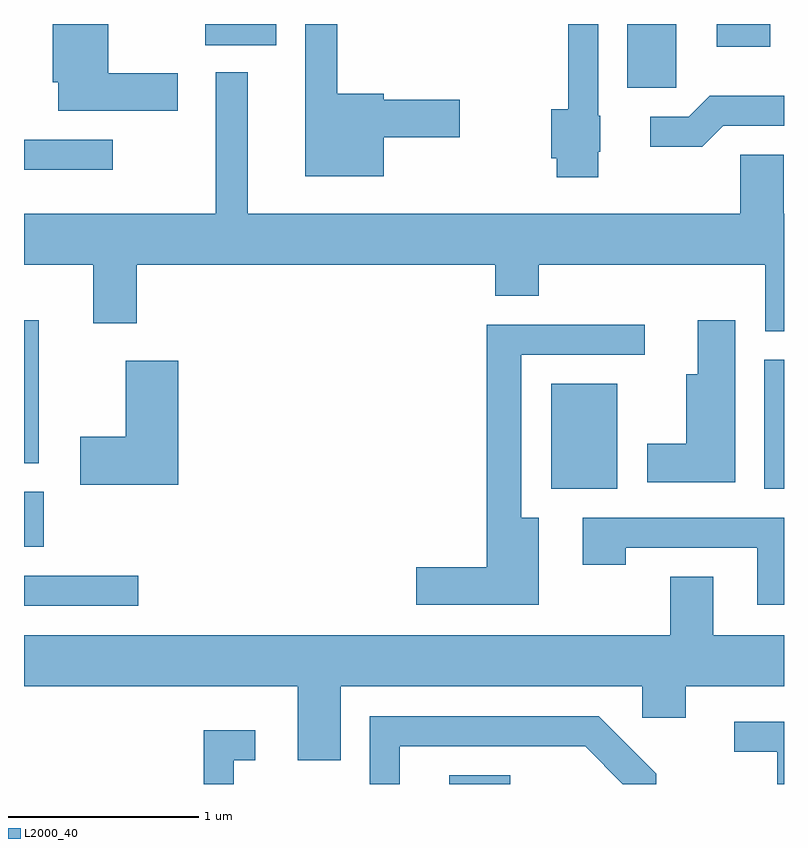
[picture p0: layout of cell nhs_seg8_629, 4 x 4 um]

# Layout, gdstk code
import gdstk
lib = gdstk.Library(unit=1e-6, precision=1e-09)
def R(c, l, rs):  # rectangles x0, y0, x1, y1
    for r in rs: c.add(gdstk.rectangle(r[:2], r[2:], *l))
def P(c, l, *ps):  # polygons
    for p in ps: c.add(gdstk.Polygon(p, *l))
L2000_40 = (2000, 40)

nhs_seg8_629 = lib.new_cell('nhs_seg8_629')
R(nhs_seg8_629, L2000_40, [(205.848,1840.342,206.169,1840.389), (203.611,1841.281,204.213,1841.439), (203.611,1841.591,203.714,1841.879), (206.386,1841.896,206.734,1842.449), (207.506,1841.896,207.611,1842.574), (203.611,1842.031,203.689,1842.784), (203.611,1843.576,204.078,1843.734), (206.786,1844.006,207.044,1844.342), (207.256,1844.221,207.539,1844.342), (204.566,1844.231,204.939,1844.342)])
P(nhs_seg8_629, L2000_40, [(204.419,1844.084),(204.054,1844.084),(204.054,1844.342),(203.761,1844.342),(203.761,1844.036),(203.791,1844.036),(203.791,1843.886),(204.419,1843.886)],
  [(205.504,1843.746),(205.904,1843.746),(205.904,1843.944),(205.504,1843.944),(205.504,1843.974),(205.259,1843.974),(205.259,1844.342),(205.091,1844.342),(205.091,1843.541),(205.504,1843.541)],
  [(206.634,1843.67),(206.644,1843.67),(206.644,1843.86),(206.634,1843.86),(206.634,1844.342),(206.476,1844.342),(206.476,1843.894),(206.386,1843.894),(206.386,1843.636),(206.416,1843.636),(206.416,1843.536),(206.634,1843.536)],
  [(207.611,1843.344),(207.609,1843.344),(207.609,1843.654),(207.381,1843.654),(207.381,1843.344),(204.789,1843.344),(204.789,1844.088),(204.621,1844.088),(204.621,1843.344),(203.611,1843.344),(203.611,1843.076),(203.976,1843.076),(203.976,1842.766),(204.204,1842.766),(204.204,1843.076),(206.091,1843.076),(206.091,1842.911),(206.319,1842.911),(206.319,1843.076),(207.511,1843.076),(207.511,1842.726),(207.611,1842.726)],
  [(207.292,1843.806),(207.611,1843.806),(207.611,1843.964),(207.219,1843.964),(207.109,1843.854),(206.908,1843.854),(206.908,1843.696),(207.182,1843.696)],
  [(207.354,1842.784),(207.156,1842.784),(207.156,1842.499),(207.096,1842.499),(207.096,1842.134),(206.891,1842.134),(206.891,1841.931),(207.354,1841.931)],
  [(206.319,1841.744),(206.229,1841.744),(206.229,1842.601),(206.878,1842.601),(206.878,1842.759),(206.046,1842.759),(206.046,1841.484),(205.676,1841.484),(205.676,1841.286),(206.319,1841.286)],
  [(204.424,1842.569),(204.146,1842.569),(204.146,1842.169),(203.906,1842.169),(203.906,1841.916),(204.424,1841.916)],
  [(207.611,1841.744),(206.551,1841.744),(206.551,1841.496),(206.779,1841.496),(206.779,1841.586),(207.471,1841.586),(207.471,1841.286),(207.611,1841.286)],
  [(205.279,1840.856),(206.866,1840.856),(206.866,1840.691),(207.094,1840.691),(207.094,1840.856),(207.611,1840.856),(207.611,1841.124),(207.239,1841.124),(207.239,1841.434),(207.011,1841.434),(207.011,1841.124),(203.611,1841.124),(203.611,1840.856),(205.051,1840.856),(205.051,1840.466),(205.279,1840.466)],
  [(205.589,1840.541),(206.564,1840.541),(206.763,1840.342),(206.939,1840.342),(206.939,1840.397),(206.637,1840.699),(205.431,1840.699),(205.431,1840.342),(205.589,1840.342)],
  [(207.611,1840.669),(207.348,1840.669),(207.348,1840.511),(207.576,1840.511),(207.576,1840.342),(207.611,1840.342)],
  [(204.714,1840.466),(204.828,1840.466),(204.828,1840.624),(204.556,1840.624),(204.556,1840.342),(204.714,1840.342)])

lib.write_gds('nhs_seg8_629.gds')
